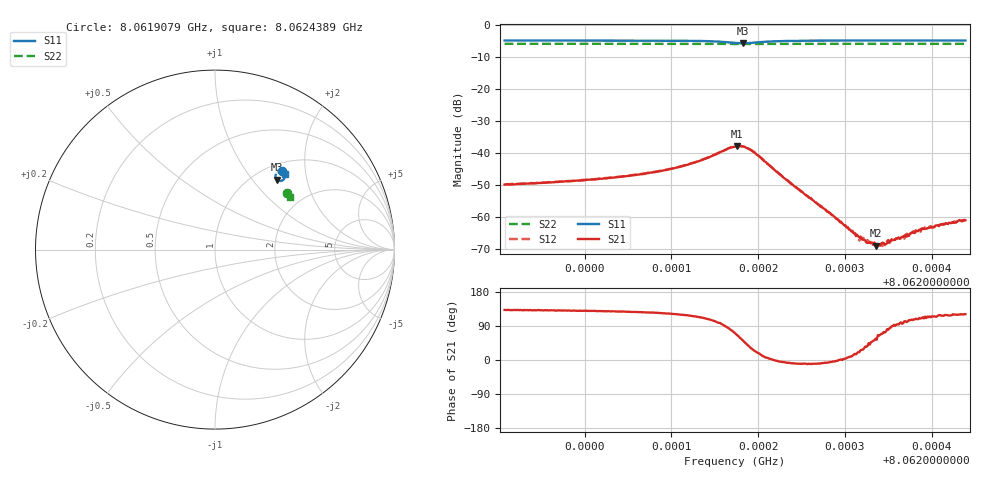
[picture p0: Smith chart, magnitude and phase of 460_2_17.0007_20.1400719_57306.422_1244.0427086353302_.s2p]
#  HZ  S  RI  R  50.00
! Rohde & Schwarz Vector Network Analyzer
! Rohde-Schwarz,ZNB20-2Port,1311601062101988,3.16
! Created: UTC 3/20/2024, 11:12:44 PM
! freq[Hz]  re:S11  im:S11  re:S21  im:S21  re:S12  im:S12  re:S22  im:S22
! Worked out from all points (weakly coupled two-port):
!   401 points, 8.0619079 GHz to 8.0624389 GHz, reference 50 ohm
!   highest |S21| = -37.81 dB at 8.062176 GHz (marker M1); lowest = -69.0 dB at 8.0623354 GHz (marker M2)
!   lowest |S11| = -5.7 dB at 8.0621827 GHz (marker M3), VSWR 3.17, Z = 62.8 + j67.1 ohm
!   |S11| at or under -10 dB: nowhere
!   |S22| runs from -5.9 to -5.8 dB; largest |S21 - S12| = 0.00085
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8.06190788e9  0.3711 0.4407  -0.00216 0.00238  -0.002 0.00254  0.4003 0.3166
8.06199682e9  0.3777 0.4345  -0.00238 0.00288  -0.00226 0.00305  0.4038 0.3121
8.06204196e9  0.3815 0.4305  -0.0026 0.00336  -0.00241 0.00354  0.4053 0.3098
8.06208577e9  0.3857 0.4244  -0.00291 0.00428  -0.00267 0.00453  0.407 0.3075
8.06212692e9  0.3897 0.4132  -0.00303 0.00642  -0.00264 0.00666  0.4084 0.3048
8.06217339e9  0.3629 0.3824  0.00408 0.0119  0.00488 0.0116  0.4082 0.3017
8.06217605e9  0.3577 0.383  0.00536 0.0117  0.00609 0.0113  0.4083 0.3017
8.06218268e9  0.345 0.3896  0.00791 0.0098  0.00861 0.0094  0.4079 0.3018
8.06219463e9  0.3369 0.4114  0.00935 0.00457  0.0097 0.00417  0.4083 0.3024
8.06223579e9  0.3624 0.4355  0.00348 -0.000455  0.00351 -0.000683  0.4112 0.301
8.06226234e9  0.3714 0.4345  0.00183 -0.000344  0.00181 -0.000463  0.4125 0.2998
8.06228491e9  0.3761 0.4329  0.00106 -9.53e-05  0.00108 -0.000158  0.4135 0.2983
8.06231677e9  0.381 0.4304  0.000448 0.00017  0.000402 0.000146  0.4147 0.2967
8.06232473e9  0.3818 0.4299  0.000328 0.000226  0.000356 0.000214  0.4148 0.2962
8.06233535e9  0.3831 0.4292  0.000197 0.000296  0.000221 0.000296  0.4153 0.2958
8.06234465e9  0.3839 0.4287  0.000109 0.000378  0.000118 0.000354  0.4155 0.2952
8.06235129e9  0.3845 0.4282  4.37e-05 0.000395  8.38e-05 0.000387  0.416 0.2949
8.06236589e9  0.3859 0.4272  -4.57e-05 0.000488  -6.86e-05 0.000487  0.4165 0.2941
8.06237916e9  0.3872 0.4263  -0.000167 0.000541  -0.000126 0.00059  0.4168 0.2934
8.0623858e9  0.3878 0.4259  -0.000227 0.000594  -0.000167 0.000588  0.4172 0.293
8.06239244e9  0.3883 0.4255  -0.000268 0.00059  -0.000234 0.000653  0.4172 0.2928
8.0624389e9  0.3917 0.4225  -0.000458 0.000764  -0.000382 0.000779  0.419 0.2903
